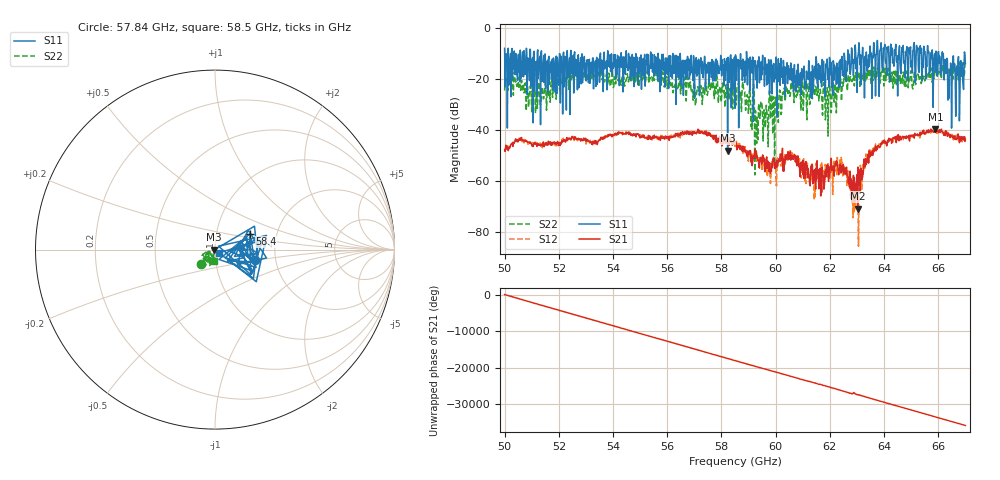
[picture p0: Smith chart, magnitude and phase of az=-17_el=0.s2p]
!Created with skrf (http://scikit-rf.org).
# GHz S RI R 50.0
!freq ReS11 ImS11 ReS21 ImS21 ReS12 ImS12 ReS22 ImS22
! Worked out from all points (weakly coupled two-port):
!   1001 points, 50 GHz to 67 GHz, reference 50 ohm
!   highest |S21| = -39.53 dB at 65.89 GHz (marker M1); lowest = -70.8 dB at 63.02 GHz (marker M2)
!   lowest |S11| = -48.0 dB at 58.23 GHz (marker M3), VSWR 1.01, Z = 49.6 - j0.0998 ohm
!   |S11| at or under -10 dB: 52.59 GHz to 53.53 GHz (948.3 MHz wide, 1.79 % of centre); 56.48 GHz to 58.92 GHz (2.446 GHz wide, 4.24 % of centre); 58.93 GHz to 62.53 GHz (3.599 GHz wide, 5.93 % of centre) (the widest 3 of 65)
!   |S22| runs from -57.6 to -13.4 dB; largest |S21 - S12| = 0.0028
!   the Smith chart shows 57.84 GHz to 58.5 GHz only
!   S11 on the Smith chart (normalised r, x): 57.84 GHz: 1.55, -0.19; 58.4 GHz: 1.45, +0.27; 58.5 GHz: 1.04, -0.04
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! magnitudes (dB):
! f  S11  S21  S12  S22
! 50 GHz  -7.9  -47.8  -48.4  -24.5
! 51.14 GHz  -13.5  -45.6  -45.3  -33.4
! 52.84 GHz  -11.5  -44.1  -44.1  -19.9
! 55.68 GHz  -13.3  -43.4  -43.0  -21.0
! 57.84 GHz  -12.9  -45.1  -44.3  -19.2
! 58.23 GHz  -48.0  -43.2  -44.2  -23.2
! 58.4 GHz  -13.4  -45.9  -45.9  -25.7
! 58.5 GHz  -31.5  -44.9  -46.4  -23.6
! 59.11 GHz  -12.8  -50.0  -49.4  -35.5
! 59.32 GHz  -23.6  -49.9  -50.5  -35.1
! 59.72 GHz  -21.6  -52.9  -54.4  -46.5
! 60.34 GHz  -15.2  -53.6  -49.2  -25.8
! 61.34 GHz  -27.6  -53.3  -59.6  -26.7
! 62.36 GHz  -13.0  -55.7  -53.9  -20.9
! 62.89 GHz  -12.8  -67.1  -72.1  -19.9
! 63.02 GHz  -12.2  -70.8  -60.6  -19.4
! 63.41 GHz  -15.6  -49.4  -51.4  -16.0
! 64.18 GHz  -11.7  -43.2  -44.6  -17.6
! 65.89 GHz  -17.1  -39.5  -40.1  -17.6
! 66.23 GHz  -12.4  -41.3  -40.6  -15.4
! 66.44 GHz  -18.5  -43.0  -42.2  -16.2
! 67 GHz  -14.0  -43.6  -44.5  -14.3
